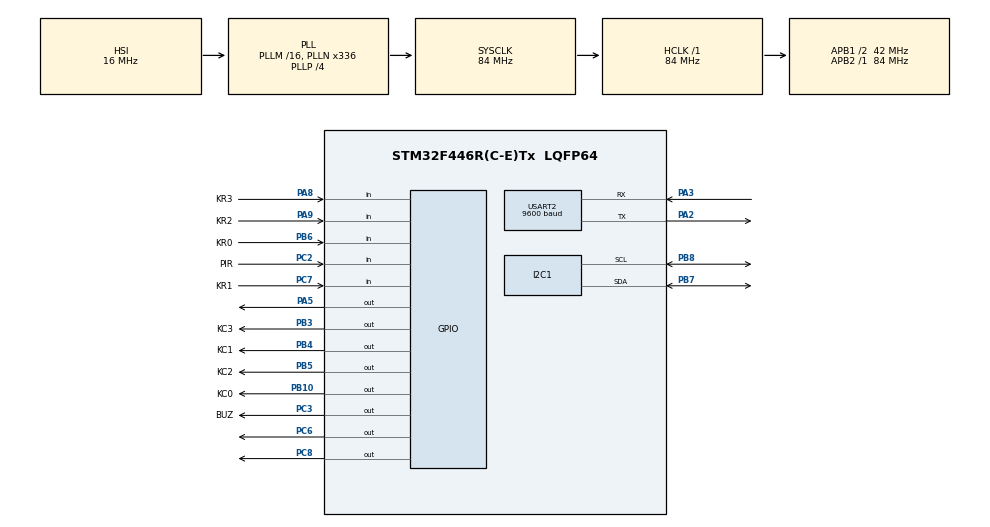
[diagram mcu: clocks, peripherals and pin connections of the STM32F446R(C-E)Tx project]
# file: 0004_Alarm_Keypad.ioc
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FREERTOS.Tasks01=defaultTask,24,128,StartDefaultTask,Default,NULL,Dynamic,NULL,NULL;ArmingSystem,24,128,StartArmingSystem,Default,NULL,Dynamic,NULL,NULL;LEDS,8,128,StartLEDS,Default,NULL,Dynamic,NULL,NULL
I2C1.I2C_Mode=I2C_Fast
Mcu.Family=STM32F4
Mcu.Name=STM32F446R(C-E)Tx
Mcu.Package=LQFP64
NVIC.PriorityGroup=NVIC_PRIORITYGROUP_4
NVIC.TIM6_DAC_IRQn=true\:15\:0\:false\:false\:true\:false\:false\:true\:true
NVIC.TimeBase=TIM6_DAC_IRQn
NVIC.TimeBaseIP=TIM6
PA13.Mode=Serial_Wire
PA13.Signal=SYS_JTMS-SWDIO
PA14.Mode=Serial_Wire
PA14.Signal=SYS_JTCK-SWCLK
PA2.Mode=Asynchronous
PA2.Signal=USART2_TX
PA3.Mode=Asynchronous
PA3.Signal=USART2_RX
PA5.Signal=GPIO_Output
PA8.GPIO_Label=KR3
PA8.GPIO_PuPd=GPIO_PULLDOWN
PA8.Signal=GPIO_Input
PA9.GPIO_Label=KR2
PA9.GPIO_PuPd=GPIO_PULLDOWN
PA9.Signal=GPIO_Input
PB10.GPIO_Label=KC0
PB10.Signal=GPIO_Output
PB3.GPIO_Label=KC3
PB3.Signal=GPIO_Output
PB4.GPIO_Label=KC1
PB4.Signal=GPIO_Output
PB5.GPIO_Label=KC2
PB5.Signal=GPIO_Output
PB6.GPIO_Label=KR0
PB6.GPIO_PuPd=GPIO_PULLDOWN
PB6.Signal=GPIO_Input
PB7.Mode=I2C
PB7.Signal=I2C1_SDA
PB8.Mode=I2C
PB8.Signal=I2C1_SCL
PC14-OSC32_IN.Mode=LSE-External-Oscillator
PC14-OSC32_IN.Signal=RCC_OSC32_IN
PC15-OSC32_OUT.Mode=LSE-External-Oscillator
PC15-OSC32_OUT.Signal=RCC_OSC32_OUT
PC2.GPIO_Label=PIR
PC2.Signal=GPIO_Input
PC3.GPIO_Label=BUZ
PC3.Signal=GPIO_Output
PC6.Signal=GPIO_Output
PC7.GPIO_Label=KR1
PC7.GPIO_PuPd=GPIO_PULLDOWN
PC7.Signal=GPIO_Input
PC8.Signal=GPIO_Output
PH0-OSC_IN.Mode=HSE-External-Oscillator
PH0-OSC_IN.Signal=RCC_OSC_IN
PH1-OSC_OUT.Mode=HSE-External-Oscillator
PH1-OSC_OUT.Signal=RCC_OSC_OUT
ProjectManager.HeapSize=0x200
ProjectManager.StackSize=0x400
ProjectManager.TargetToolchain=STM32CubeIDE
RCC.48MHZClocksFreq_Value=84000000
RCC.AHBFreq_Value=84000000
RCC.APB1CLKDivider=RCC_HCLK_DIV2
RCC.APB1Freq_Value=42000000
RCC.APB1TimFreq_Value=84000000
RCC.APB2Freq_Value=84000000
RCC.APB2TimFreq_Value=84000000
RCC.CortexFreq_Value=84000000
RCC.FLatency-AdvancedSettings=FLASH_LATENCY_2
RCC.HCLKFreq_Value=84000000
RCC.HSE_VALUE=8000000
RCC.HSI_VALUE=16000000
RCC.PLLN=336
RCC.PLLP=RCC_PLLP_DIV4
RCC.SYSCLKFreq_VALUE=84000000
RCC.SYSCLKSource=RCC_SYSCLKSOURCE_PLLCLK
RCC.USBFreq_Value=168000000
RCC.VCOOutputFreq_Value=336000000
USART2.BaudRate=9600
USART2.VirtualMode=VM_ASYNC
VP_FREERTOS_VS_CMSIS_V2.Mode=CMSIS_V2
VP_SYS_VS_tim6.Mode=TIM6
board=NUCLEO-F446RE

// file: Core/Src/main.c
/* USER CODE BEGIN Header */
/**
  ******************************************************************************
  * @file           : main.c
  * @brief          : Main program body
  ******************************************************************************
  * @attention
  *
  * Copyright (c) 2024 STMicroelectronics.
  * All rights reserved.
  *
  * This software is licensed under terms that can be found in the LICENSE file
  * in the root directory of this software component.
  * If no LICENSE file comes with this software, it is provided AS-IS.
  *
  ******************************************************************************
  */
/* USER CODE END Header */
#include "main.h"
#include "cmsis_os.h"

/* USER CODE BEGIN Includes */
#include "Keypad4X4.h"
#include <stdio.h>
#include <string.h>
#include <stdlib.h>
#include "fonts.h"
#include "ssd1306.h"
#include <string.h>

/* USER CODE END Includes */

I2C_HandleTypeDef hi2c1;

UART_HandleTypeDef huart2;

/* Definitions for defaultTask */
osThreadId_t defaultTaskHandle;
const osThreadAttr_t defaultTask_attributes = {
  .name = "defaultTask",
  .stack_size = 128 * 4,
  .priority = (osPriority_t) osPriorityNormal,
};
/* Definitions for ArmingSystem */
osThreadId_t ArmingSystemHandle;
const osThreadAttr_t ArmingSystem_attributes = {
  .name = "ArmingSystem",
  .stack_size = 128 * 4,
  .priority = (osPriority_t) osPriorityNormal,
};
/* Definitions for LEDS */
osThreadId_t LEDSHandle;
const osThreadAttr_t LEDS_attributes = {
  .name = "LEDS",
  .stack_size = 128 * 4,
  .priority = (osPriority_t) osPriorityLow,
};
/* USER CODE BEGIN PV */
char entry [4];
extern char key;
char hold[4];
char password [4];
int armed = 0;
/* USER CODE END PV */

void SystemClock_Config(void);
static void MX_GPIO_Init(void);
static void MX_USART2_UART_Init(void);
static void MX_I2C1_Init(void);
void StartDefaultTask(void *argument);
void StartArmingSystem(void *argument);
void StartLEDS(void *argument);

int main(void)
{

  /* MCU Configuration--------------------------------------------------------*/

  /* Reset of all peripherals, Initializes the Flash interface and the Systick. */
  HAL_Init();

  /* Configure the system clock */
  SystemClock_Config();

  /* Initialize all configured peripherals */
  MX_GPIO_Init();
  MX_USART2_UART_Init();
  MX_I2C1_Init();
  /* USER CODE BEGIN 2 */
  /* USER CODE BEGIN 2 */
  SSD1306_Init();

  /* USER CODE END 2 */

  /* Init scheduler */
  osKernelInitialize();

  /* Create the thread(s) */
  /* creation of defaultTask */
  defaultTaskHandle = osThreadNew(StartDefaultTask, NULL, &defaultTask_attributes);

  /* creation of ArmingSystem */
  ArmingSystemHandle = osThreadNew(StartArmingSystem, NULL, &ArmingSystem_attributes);

  /* creation of LEDS */
  LEDSHandle = osThreadNew(StartLEDS, NULL, &LEDS_attributes);

  /* Start scheduler */
  osKernelStart();

  /* We should never get here as control is now taken by the scheduler */
  /* Infinite loop */
  while (1)
  {

    /* USER CODE BEGIN 3 */
	/* D10 to D7 as input pins for row 0 to row 3. D6 to D3 as output for column pins C1 to C3*/

  }
  /* USER CODE END 3 */
}

void SystemClock_Config(void)
{
  RCC_OscInitTypeDef RCC_OscInitStruct = {0};
  RCC_ClkInitTypeDef RCC_ClkInitStruct = {0};

  /** Configure the main internal regulator output voltage
  */
  __HAL_RCC_PWR_CLK_ENABLE();
  __HAL_PWR_VOLTAGESCALING_CONFIG(PWR_REGULATOR_VOLTAGE_SCALE3);

  /** Initializes the RCC Oscillators according to the specified parameters
  * in the RCC_OscInitTypeDef structure.
  */
  RCC_OscInitStruct.OscillatorType = RCC_OSCILLATORTYPE_HSI;
  RCC_OscInitStruct.HSIState = RCC_HSI_ON;
  RCC_OscInitStruct.HSICalibrationValue = RCC_HSICALIBRATION_DEFAULT;
  RCC_OscInitStruct.PLL.PLLState = RCC_PLL_ON;
  RCC_OscInitStruct.PLL.PLLSource = RCC_PLLSOURCE_HSI;
  RCC_OscInitStruct.PLL.PLLM = 16;
  RCC_OscInitStruct.PLL.PLLN = 336;
  RCC_OscInitStruct.PLL.PLLP = RCC_PLLP_DIV4;
  RCC_OscInitStruct.PLL.PLLQ = 2;
  RCC_OscInitStruct.PLL.PLLR = 2;
  if (HAL_RCC_OscConfig(&RCC_OscInitStruct) != HAL_OK)
  {
    Error_Handler();
  }

  /** Initializes the CPU, AHB and APB buses clocks
  */
  RCC_ClkInitStruct.ClockType = RCC_CLOCKTYPE_HCLK|RCC_CLOCKTYPE_SYSCLK
                              |RCC_CLOCKTYPE_PCLK1|RCC_CLOCKTYPE_PCLK2;
  RCC_ClkInitStruct.SYSCLKSource = RCC_SYSCLKSOURCE_PLLCLK;
  RCC_ClkInitStruct.AHBCLKDivider = RCC_SYSCLK_DIV1;
  RCC_ClkInitStruct.APB1CLKDivider = RCC_HCLK_DIV2;
  RCC_ClkInitStruct.APB2CLKDivider = RCC_HCLK_DIV1;

  if (HAL_RCC_ClockConfig(&RCC_ClkInitStruct, FLASH_LATENCY_2) != HAL_OK)
  {
    Error_Handler();
  }
}

static void MX_I2C1_Init(void)
{

  hi2c1.Instance = I2C1;
  hi2c1.Init.ClockSpeed = 400000;
  hi2c1.Init.DutyCycle = I2C_DUTYCYCLE_2;
  hi2c1.Init.OwnAddress1 = 0;
  hi2c1.Init.AddressingMode = I2C_ADDRESSINGMODE_7BIT;
  hi2c1.Init.DualAddressMode = I2C_DUALADDRESS_DISABLE;
  hi2c1.Init.OwnAddress2 = 0;
  hi2c1.Init.GeneralCallMode = I2C_GENERALCALL_DISABLE;
  hi2c1.Init.NoStretchMode = I2C_NOSTRETCH_DISABLE;
  if (HAL_I2C_Init(&hi2c1) != HAL_OK)
  {
    Error_Handler();
  }

}

static void MX_USART2_UART_Init(void)
{

  huart2.Instance = USART2;
  huart2.Init.BaudRate = 9600;
  huart2.Init.WordLength = UART_WORDLENGTH_8B;
  huart2.Init.StopBits = UART_STOPBITS_1;
  huart2.Init.Parity = UART_PARITY_NONE;
  huart2.Init.Mode = UART_MODE_TX_RX;
  huart2.Init.HwFlowCtl = UART_HWCONTROL_NONE;
  huart2.Init.OverSampling = UART_OVERSAMPLING_16;
  if (HAL_UART_Init(&huart2) != HAL_OK)
  {
    Error_Handler();
  }

}

static void MX_GPIO_Init(void)
{
  GPIO_InitTypeDef GPIO_InitStruct = {0};

  /* GPIO Ports Clock Enable */
  __HAL_RCC_GPIOC_CLK_ENABLE();
  __HAL_RCC_GPIOH_CLK_ENABLE();
  __HAL_RCC_GPIOA_CLK_ENABLE();
  __HAL_RCC_GPIOB_CLK_ENABLE();

  /*Configure GPIO pin Output Level */
  HAL_GPIO_WritePin(GPIOC, BUZ_Pin|GPIO_PIN_6|GPIO_PIN_8, GPIO_PIN_RESET);

  /*Configure GPIO pin Output Level */
  HAL_GPIO_WritePin(GPIOA, GPIO_PIN_5, GPIO_PIN_RESET);

  /*Configure GPIO pin Output Level */
  HAL_GPIO_WritePin(GPIOB, KC0_Pin|KC3_Pin|KC1_Pin|KC2_Pin, GPIO_PIN_RESET);

  /*Configure GPIO pin : PIR_Pin */
  GPIO_InitStruct.Pin = PIR_Pin;
  GPIO_InitStruct.Mode = GPIO_MODE_INPUT;
  GPIO_InitStruct.Pull = GPIO_NOPULL;
  HAL_GPIO_Init(PIR_GPIO_Port, &GPIO_InitStruct);

  /*Configure GPIO pins : BUZ_Pin PC6 PC8 */
  GPIO_InitStruct.Pin = BUZ_Pin|GPIO_PIN_6|GPIO_PIN_8;
  GPIO_InitStruct.Mode = GPIO_MODE_OUTPUT_PP;
  GPIO_InitStruct.Pull = GPIO_NOPULL;
  GPIO_InitStruct.Speed = GPIO_SPEED_FREQ_LOW;
  HAL_GPIO_Init(GPIOC, &GPIO_InitStruct);

  /*Configure GPIO pin : PA5 */
  GPIO_InitStruct.Pin = GPIO_PIN_5;
  GPIO_InitStruct.Mode = GPIO_MODE_OUTPUT_PP;
  GPIO_InitStruct.Pull = GPIO_NOPULL;
  GPIO_InitStruct.Speed = GPIO_SPEED_FREQ_LOW;
  HAL_GPIO_Init(GPIOA, &GPIO_InitStruct);

  /*Configure GPIO pins : KC0_Pin KC3_Pin KC1_Pin KC2_Pin */
  GPIO_InitStruct.Pin = KC0_Pin|KC3_Pin|KC1_Pin|KC2_Pin;
  GPIO_InitStruct.Mode = GPIO_MODE_OUTPUT_PP;
  GPIO_InitStruct.Pull = GPIO_NOPULL;
  GPIO_InitStruct.Speed = GPIO_SPEED_FREQ_LOW;
  HAL_GPIO_Init(GPIOB, &GPIO_InitStruct);

  /*Configure GPIO pin : KR1_Pin */
  GPIO_InitStruct.Pin = KR1_Pin;
  GPIO_InitStruct.Mode = GPIO_MODE_INPUT;
  GPIO_InitStruct.Pull = GPIO_PULLDOWN;
  HAL_GPIO_Init(KR1_GPIO_Port, &GPIO_InitStruct);

  /*Configure GPIO pins : KR3_Pin KR2_Pin */
  GPIO_InitStruct.Pin = KR3_Pin|KR2_Pin;
  GPIO_InitStruct.Mode = GPIO_MODE_INPUT;
  GPIO_InitStruct.Pull = GPIO_PULLDOWN;
  HAL_GPIO_Init(GPIOA, &GPIO_InitStruct);

  /*Configure GPIO pin : KR0_Pin */
  GPIO_InitStruct.Pin = KR0_Pin;
  GPIO_InitStruct.Mode = GPIO_MODE_INPUT;
  GPIO_InitStruct.Pull = GPIO_PULLDOWN;
  HAL_GPIO_Init(KR0_GPIO_Port, &GPIO_InitStruct);

}

void StartDefaultTask(void *argument)
{
  /* USER CODE BEGIN 5 */
  /* Infinite loop */
  for(;;)
  {
	  if (armed == 1){
		  if (HAL_GPIO_ReadPin(GPIOC, GPIO_PIN_2)){
			  osDelay (10000); // delay to give user time to disarm system
			  HAL_GPIO_WritePin (GPIOC, GPIO_PIN_3, 1); // turn on buzzer
		  }else{
			  HAL_GPIO_WritePin (GPIOC, GPIO_PIN_3, 0); // LED OFF
		  }
	  }else {
		  HAL_GPIO_WritePin (GPIOC, GPIO_PIN_3, 0);
	  }
	  osDelay(1);
  }
  /* USER CODE END 5 */
}

void StartArmingSystem(void *argument)
{
  /* USER CODE BEGIN StartArmingSystem */
  /* Infinite loop */
  for(;;)
  {
	SSD1306_Clear();
	if (armed == 0){
		SSD1306_GotoXY (0,0);
		SSD1306_Puts ("Not Armed :", &Font_11x18, 1);
		SSD1306_UpdateScreen();

		password[0] = Get_Key();
		SSD1306_GotoXY (0, 30);
		SSD1306_Puts ("*", &Font_11x18, 1);
		SSD1306_UpdateScreen();

		password[1] = Get_Key();
		SSD1306_GotoXY (0, 30);
		SSD1306_Puts ("**", &Font_11x18, 1);
		SSD1306_UpdateScreen();

		password[2] = Get_Key();
		SSD1306_GotoXY (0, 30);
		SSD1306_Puts ("***", &Font_11x18, 1);
		SSD1306_UpdateScreen();

		password[3] = Get_Key();
		SSD1306_GotoXY (0, 30);
		SSD1306_Puts ("****", &Font_11x18, 1);
		SSD1306_UpdateScreen();
		HAL_UART_Transmit(&huart2, (uint8_t*)"save password: ", strlen("save password: "), HAL_MAX_DELAY);
		HAL_UART_Transmit(&huart2, (uint8_t*)password, strlen(password), HAL_MAX_DELAY);

		osDelay(10000); // wait 10s to give time to the user to leave before arming system.

		armed = 1;

	}else {

		SSD1306_GotoXY (0,0);
		SSD1306_Puts ("Armed :", &Font_11x18, 1);
		SSD1306_UpdateScreen();

		entry[0] = Get_Key();
		SSD1306_GotoXY (0, 30);
		SSD1306_Puts ("*", &Font_11x18, 1);
		SSD1306_UpdateScreen();

		entry[1] = Get_Key();
		SSD1306_GotoXY (0, 30);
		SSD1306_Puts ("**", &Font_11x18, 1);
		SSD1306_UpdateScreen();

		entry[2] = Get_Key();
		SSD1306_GotoXY (0, 30);
		SSD1306_Puts ("***", &Font_11x18, 1);
		SSD1306_UpdateScreen();

		entry[3] = Get_Key();
		SSD1306_GotoXY (0, 30);
		SSD1306_Puts ("****", &Font_11x18, 1);
		SSD1306_UpdateScreen();

		HAL_UART_Transmit(&huart2, (uint8_t*)"the entry: ", strlen("the entry: "), HAL_MAX_DELAY);
		HAL_UART_Transmit(&huart2, (uint8_t*) entry, strlen(entry), HAL_MAX_DELAY);

		int equal = 1;
		for (int i = 0 ; i <4 ; i++){
			if (password[i] != entry[i]){
				equal = 0;
			}
		}

		// strncmp(password, entry, strlen(password)) == 0
		if (equal){
			armed = 0;
			memset (&password[0], 0, sizeof(password));
		}else {
			SSD1306_GotoXY (0, 30);
			SSD1306_Puts ("Wrong Password!", &Font_11x18, 1);
			SSD1306_UpdateScreen();
		}

	}

  }
  /* USER CODE END StartArmingSystem */
}

void StartLEDS(void *argument)
{
  /* USER CODE BEGIN StartLEDS */
  /* Infinite loop */
  for(;;)
  {
	if (armed == 0){
		HAL_GPIO_WritePin (GPIOC, GPIO_PIN_8, GPIO_PIN_RESET) ; // Red LED
		HAL_GPIO_WritePin (GPIOC, GPIO_PIN_6, GPIO_PIN_SET) ; 	// Green LED
	}else{
		HAL_GPIO_WritePin (GPIOC, GPIO_PIN_8, GPIO_PIN_SET) ; // Red LED
		HAL_GPIO_WritePin (GPIOC, GPIO_PIN_6, GPIO_PIN_RESET) ; 	// Green LED
	}
    osDelay(500);
  }
  /* USER CODE END StartLEDS */
}

void HAL_TIM_PeriodElapsedCallback(TIM_HandleTypeDef *htim)
{
  if (htim->Instance == TIM6) {
    HAL_IncTick();
  }
}

void Error_Handler(void)
{
  __disable_irq();
  while (1)
  {
  }
}
